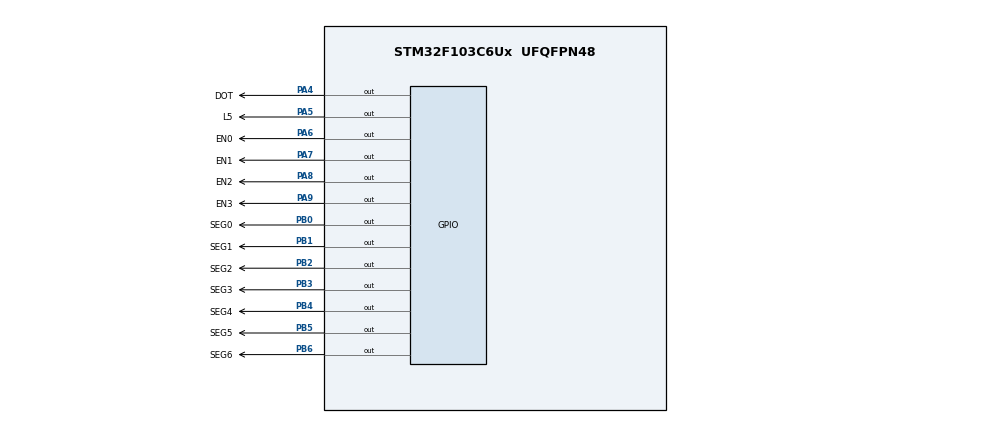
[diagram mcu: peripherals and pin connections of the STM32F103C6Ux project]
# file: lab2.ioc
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Mcu.Family=STM32F1
Mcu.Name=STM32F103C6Ux
Mcu.Package=UFQFPN48
NVIC.PriorityGroup=NVIC_PRIORITYGROUP_4
NVIC.TIM2_IRQn=true\:0\:0\:false\:false\:true\:true\:true
PA4.GPIO_Label=DOT
PA4.Signal=GPIO_Output
PA5.GPIO_Label=L5
PA5.Signal=GPIO_Output
PA6.GPIO_Label=EN0
PA6.Signal=GPIO_Output
PA7.GPIO_Label=EN1
PA7.Signal=GPIO_Output
PA8.GPIO_Label=EN2
PA8.Signal=GPIO_Output
PA9.GPIO_Label=EN3
PA9.Signal=GPIO_Output
PB0.GPIO_Label=SEG0
PB0.Signal=GPIO_Output
PB1.GPIO_Label=SEG1
PB1.Signal=GPIO_Output
PB2.GPIO_Label=SEG2
PB2.Signal=GPIO_Output
PB3.GPIO_Label=SEG3
PB3.Signal=GPIO_Output
PB4.GPIO_Label=SEG4
PB4.Signal=GPIO_Output
PB5.GPIO_Label=SEG5
PB5.Signal=GPIO_Output
PB6.GPIO_Label=SEG6
PB6.Signal=GPIO_Output
ProjectManager.HeapSize=0x200
ProjectManager.StackSize=0x400
ProjectManager.TargetToolchain=STM32CubeIDE
RCC.APB1Freq_Value=8000000
RCC.APB2Freq_Value=8000000
TIM2.Period=9
TIM2.Prescaler=7999
VP_SYS_VS_ND.Mode=No_Debug
VP_TIM2_VS_ClockSourceINT.Mode=Internal
board=custom

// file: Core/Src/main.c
/* USER CODE BEGIN Header */
/**
  ******************************************************************************
  * @file           : main.c
  * @brief          : Main program body
  ******************************************************************************
  * @attention
  *
  * <h2><center>&copy; Copyright (c) 2024 STMicroelectronics.
  * All rights reserved.</center></h2>
  *
  * This software component is licensed by ST under BSD 3-Clause license,
  * the "License"; You may not use this file except in compliance with the
  * License. You may obtain a copy of the License at:
  *                        opensource.org/licenses/BSD-3-Clause
  *
  ******************************************************************************
  */
/* USER CODE END Header */
#include "main.h"
#include "software_timer.h"

TIM_HandleTypeDef htim2;

void SystemClock_Config(void);
static void MX_GPIO_Init(void);
static void MX_TIM2_Init(void);

/* USER CODE BEGIN 0 */
const int MAX_LED = 4;
int index_led = 0;
int led_buffer[4] = {1, 2, 3, 4};
void HAL_TIM_PeriodElapsedCallback(TIM_HandleTypeDef *htim);
void display7SEG(int num);
void update7SEG(int index);
void updateClockBuffer(int hour, int minute);
/* USER CODE END 0 */

int main(void)
{

  /* MCU Configuration--------------------------------------------------------*/

  /* Reset of all peripherals, Initializes the Flash interface and the Systick. */
  HAL_Init();

  /* Configure the system clock */
  SystemClock_Config();

  /* Initialize all configured peripherals */
  MX_GPIO_Init();
  MX_TIM2_Init();
  /* USER CODE BEGIN 2 */
  HAL_TIM_Base_Start_IT(&htim2);
  /* USER CODE END 2 */

  /* Infinite loop */
  /* USER CODE BEGIN WHILE */
  setTimer(0, 1000);
  setTimer(1, 500);
  int hour = 15;
  int minute = 8;
  int second = 50;
  while (1)
  {

	if (isTimerExpired(0) == 1) {
		setTimer(0, 1000);
		HAL_GPIO_TogglePin(GPIOA, DOT_Pin);
	}

	if (isTimerExpired(1) == 1) {

		setTimer(1, 100);

		second++;
		if (second >= 60) {
			second = 0;
			minute++;
		}

		if (minute >= 60) {
			minute = 0;
			hour++;
		}

		if (hour >= 24) {
			hour = 0;
		}
		updateClockBuffer(hour, minute);
		update7SEG((index_led++)%4);
	}

    /* USER CODE END WHILE */

  }
}

void SystemClock_Config(void)
{
  RCC_OscInitTypeDef RCC_OscInitStruct = {0};
  RCC_ClkInitTypeDef RCC_ClkInitStruct = {0};

  /** Initializes the RCC Oscillators according to the specified parameters
  * in the RCC_OscInitTypeDef structure.
  */
  RCC_OscInitStruct.OscillatorType = RCC_OSCILLATORTYPE_HSI;
  RCC_OscInitStruct.HSIState = RCC_HSI_ON;
  RCC_OscInitStruct.HSICalibrationValue = RCC_HSICALIBRATION_DEFAULT;
  RCC_OscInitStruct.PLL.PLLState = RCC_PLL_NONE;
  if (HAL_RCC_OscConfig(&RCC_OscInitStruct) != HAL_OK)
  {
    Error_Handler();
  }
  /** Initializes the CPU, AHB and APB buses clocks
  */
  RCC_ClkInitStruct.ClockType = RCC_CLOCKTYPE_HCLK|RCC_CLOCKTYPE_SYSCLK
                              |RCC_CLOCKTYPE_PCLK1|RCC_CLOCKTYPE_PCLK2;
  RCC_ClkInitStruct.SYSCLKSource = RCC_SYSCLKSOURCE_HSI;
  RCC_ClkInitStruct.AHBCLKDivider = RCC_SYSCLK_DIV1;
  RCC_ClkInitStruct.APB1CLKDivider = RCC_HCLK_DIV1;
  RCC_ClkInitStruct.APB2CLKDivider = RCC_HCLK_DIV1;

  if (HAL_RCC_ClockConfig(&RCC_ClkInitStruct, FLASH_LATENCY_0) != HAL_OK)
  {
    Error_Handler();
  }
}

static void MX_TIM2_Init(void)
{

  TIM_ClockConfigTypeDef sClockSourceConfig = {0};
  TIM_MasterConfigTypeDef sMasterConfig = {0};

  htim2.Instance = TIM2;
  htim2.Init.Prescaler = 7999;
  htim2.Init.CounterMode = TIM_COUNTERMODE_UP;
  htim2.Init.Period = 9;
  htim2.Init.ClockDivision = TIM_CLOCKDIVISION_DIV1;
  htim2.Init.AutoReloadPreload = TIM_AUTORELOAD_PRELOAD_DISABLE;
  if (HAL_TIM_Base_Init(&htim2) != HAL_OK)
  {
    Error_Handler();
  }
  sClockSourceConfig.ClockSource = TIM_CLOCKSOURCE_INTERNAL;
  if (HAL_TIM_ConfigClockSource(&htim2, &sClockSourceConfig) != HAL_OK)
  {
    Error_Handler();
  }
  sMasterConfig.MasterOutputTrigger = TIM_TRGO_RESET;
  sMasterConfig.MasterSlaveMode = TIM_MASTERSLAVEMODE_DISABLE;
  if (HAL_TIMEx_MasterConfigSynchronization(&htim2, &sMasterConfig) != HAL_OK)
  {
    Error_Handler();
  }

}

static void MX_GPIO_Init(void)
{
  GPIO_InitTypeDef GPIO_InitStruct = {0};

  /* GPIO Ports Clock Enable */
  __HAL_RCC_GPIOA_CLK_ENABLE();
  __HAL_RCC_GPIOB_CLK_ENABLE();

  /*Configure GPIO pin Output Level */
  HAL_GPIO_WritePin(GPIOA, DOT_Pin|L5_Pin|EN0_Pin|EN1_Pin
                          |EN2_Pin|EN3_Pin, GPIO_PIN_SET);

  /*Configure GPIO pin Output Level */
  HAL_GPIO_WritePin(GPIOB, SEG0_Pin|SEG1_Pin|SEG2_Pin|SEG3_Pin
                          |SEG4_Pin|SEG5_Pin|SEG6_Pin, GPIO_PIN_SET);

  /*Configure GPIO pins : DOT_Pin L5_Pin EN0_Pin EN1_Pin
                           EN2_Pin EN3_Pin */
  GPIO_InitStruct.Pin = DOT_Pin|L5_Pin|EN0_Pin|EN1_Pin
                          |EN2_Pin|EN3_Pin;
  GPIO_InitStruct.Mode = GPIO_MODE_OUTPUT_PP;
  GPIO_InitStruct.Pull = GPIO_NOPULL;
  GPIO_InitStruct.Speed = GPIO_SPEED_FREQ_LOW;
  HAL_GPIO_Init(GPIOA, &GPIO_InitStruct);

  /*Configure GPIO pins : SEG0_Pin SEG1_Pin SEG2_Pin SEG3_Pin
                           SEG4_Pin SEG5_Pin SEG6_Pin */
  GPIO_InitStruct.Pin = SEG0_Pin|SEG1_Pin|SEG2_Pin|SEG3_Pin
                          |SEG4_Pin|SEG5_Pin|SEG6_Pin;
  GPIO_InitStruct.Mode = GPIO_MODE_OUTPUT_PP;
  GPIO_InitStruct.Pull = GPIO_NOPULL;
  GPIO_InitStruct.Speed = GPIO_SPEED_FREQ_LOW;
  HAL_GPIO_Init(GPIOB, &GPIO_InitStruct);

}

/* USER CODE BEGIN 4 */
void HAL_TIM_PeriodElapsedCallback(TIM_HandleTypeDef *htim)
{
	timerRun();
}

void display7SEG(int num)
{
    switch(num)
    {
        case 0:
            HAL_GPIO_WritePin(GPIOB, SEG0_Pin | SEG1_Pin | SEG2_Pin | SEG3_Pin | SEG4_Pin | SEG5_Pin, GPIO_PIN_RESET);
            HAL_GPIO_WritePin(GPIOB, SEG6_Pin, GPIO_PIN_SET);
            break;
        case 1:
            HAL_GPIO_WritePin(GPIOB, SEG1_Pin | SEG2_Pin, GPIO_PIN_RESET);
            HAL_GPIO_WritePin(GPIOB, SEG0_Pin | SEG3_Pin | SEG4_Pin | SEG5_Pin | SEG6_Pin, GPIO_PIN_SET);
            break;
        case 2:
            HAL_GPIO_WritePin(GPIOB, SEG0_Pin | SEG1_Pin | SEG3_Pin | SEG4_Pin | SEG6_Pin, GPIO_PIN_RESET);
            HAL_GPIO_WritePin(GPIOB, SEG2_Pin | SEG5_Pin , GPIO_PIN_SET);
            break;
        case 3:
            HAL_GPIO_WritePin(GPIOB, SEG0_Pin | SEG1_Pin | SEG2_Pin | SEG3_Pin | SEG6_Pin, GPIO_PIN_RESET);
            HAL_GPIO_WritePin(GPIOB, SEG4_Pin | SEG5_Pin, GPIO_PIN_SET);
            break;
        case 4:
            HAL_GPIO_WritePin(GPIOB, SEG1_Pin | SEG2_Pin | SEG5_Pin | SEG6_Pin, GPIO_PIN_RESET);
            HAL_GPIO_WritePin(GPIOB, SEG0_Pin | SEG3_Pin | SEG4_Pin, GPIO_PIN_SET);
            break;
        case 5:
            HAL_GPIO_WritePin(GPIOB, SEG0_Pin | SEG2_Pin | SEG3_Pin | SEG5_Pin | SEG6_Pin, GPIO_PIN_RESET);
            HAL_GPIO_WritePin(GPIOB, SEG1_Pin | SEG4_Pin, GPIO_PIN_SET);
            break;
        case 6:
            HAL_GPIO_WritePin(GPIOB, SEG0_Pin | SEG2_Pin | SEG3_Pin | SEG4_Pin | SEG5_Pin | SEG6_Pin, GPIO_PIN_RESET);
            HAL_GPIO_WritePin(GPIOB, SEG1_Pin, GPIO_PIN_SET);
            break;
        case 7:
            HAL_GPIO_WritePin(GPIOB, SEG0_Pin | SEG1_Pin | SEG2_Pin, GPIO_PIN_RESET);
            HAL_GPIO_WritePin(GPIOB, SEG3_Pin | SEG4_Pin | SEG5_Pin | SEG6_Pin, GPIO_PIN_SET);
            break;
        case 8:
            HAL_GPIO_WritePin(GPIOB, SEG0_Pin | SEG1_Pin | SEG2_Pin | SEG3_Pin | SEG4_Pin | SEG5_Pin | SEG6_Pin, GPIO_PIN_RESET);
            break;
        case 9:
            HAL_GPIO_WritePin(GPIOB, SEG0_Pin | SEG1_Pin | SEG2_Pin | SEG5_Pin | SEG6_Pin, GPIO_PIN_RESET);
            HAL_GPIO_WritePin(GPIOB, SEG3_Pin | SEG4_Pin, GPIO_PIN_SET);
            break;
        default:
            // Optionally, you can turn off all segments if the number is not between 0 and 9
            //HAL_GPIO_WritePin(GPIOB, SEG0_Pin | SEG1_Pin | SEG2_Pin | SEG3_Pin | SEG4_Pin | SEG5_Pin | SEG6_Pin, GPIO_PIN_SET);
            break;
    }
}

void update7SEG(int index)
{
	switch (index)
	{
		case 0:
			display7SEG(led_buffer[index]);
			HAL_GPIO_WritePin(GPIOA, EN0_Pin, GPIO_PIN_RESET);
			HAL_GPIO_WritePin(GPIOA, EN1_Pin|EN2_Pin|EN3_Pin, GPIO_PIN_SET);
			break;

		case 1:
			display7SEG(led_buffer[index]);
			HAL_GPIO_WritePin(GPIOA, EN1_Pin, GPIO_PIN_RESET);
			HAL_GPIO_WritePin(GPIOA, EN0_Pin|EN2_Pin|EN3_Pin, GPIO_PIN_SET);
			break;

		case 2:
			display7SEG(led_buffer[index]);
			HAL_GPIO_WritePin(GPIOA, EN2_Pin, GPIO_PIN_RESET);
			HAL_GPIO_WritePin(GPIOA, EN1_Pin|EN0_Pin|EN3_Pin, GPIO_PIN_SET);
			break;

		case 3:
			display7SEG(led_buffer[index]);
			HAL_GPIO_WritePin(GPIOA, EN3_Pin, GPIO_PIN_RESET);
			HAL_GPIO_WritePin(GPIOA, EN1_Pin|EN2_Pin|EN0_Pin, GPIO_PIN_SET);
			break;

		default:
			break;
	}
}

void updateClockBuffer(int hour, int minute)
{
	led_buffer[0] = hour / 10;
	led_buffer[1] = hour % 10;
	led_buffer[2] = minute / 10;
	led_buffer[3] = minute % 10;
}

/* USER CODE END 4 */

void Error_Handler(void)
{
  __disable_irq();
  while (1)
  {
  }
}

/************************ (C) COPYRIGHT STMicroelectronics *****END OF FILE****/
